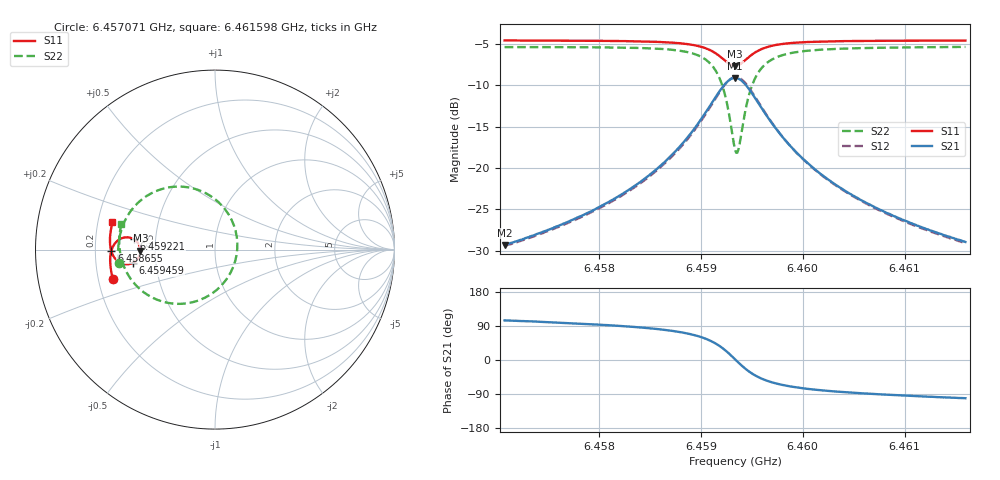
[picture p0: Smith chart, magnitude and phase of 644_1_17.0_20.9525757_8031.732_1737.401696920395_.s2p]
#  HZ  S  RI  R  50.00
! Rohde & Schwarz Vector Network Analyzer
! Rohde-Schwarz,ZNB20-2Port,1311601062101988,3.16
! Created: UTC 3/20/2024, 11:20:57 PM
! freq[Hz]  re:S11  im:S11  re:S21  im:S21  re:S12  im:S12  re:S22  im:S22
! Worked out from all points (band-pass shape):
!   401 points, 6.457071 GHz to 6.461598 GHz, reference 50 ohm
!   highest |S21| = -9.08 dB at 6.459335 GHz (marker M1); lowest = -29.3 dB at 6.457071 GHz (marker M2)
!   |S21| within 3 dB of the highest: 6.459109 GHz to 6.459562 GHz (453.3 kHz wide, 0.00702 % of centre)
!   lowest |S11| = -7.6 dB at 6.459335 GHz (marker M3), VSWR 2.42, Z = 20.7 - j0.333 ohm
!   |S11| at or under -10 dB: nowhere
!   |S22| runs from -18.1 to -5.3 dB; largest |S21 - S12| = 0.014
!   S11 on the Smith chart (normalised r, x): 6.457071 GHz: 0.26, -0.13; 6.458655 GHz: 0.27, -0.00; 6.459221 GHz: 0.38, +0.05; 6.459459 GHz: 0.37, -0.07; 6.461598 GHz: 0.26, +0.12
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6.457071e9  -0.5688 -0.165  -0.00858 0.0332  -0.00685 0.033  -0.5345 -0.0762
6.4578293e9  -0.5817 -0.0983  -0.00527 0.0512  -0.0026 0.0507  -0.5386 0.0139
6.4582254e9  -0.5841 -0.0583  0.00052 0.0696  0.00391 0.0683  -0.5302 0.0772
6.4585876e9  -0.5798 -0.0149  0.0155 0.1002  0.0194 0.0975  -0.5026 0.1593
6.4586555e9  -0.5775 -0.00539  0.0211 0.1088  0.025 0.1054  -0.4923 0.1793
6.4588479e9  -0.5644 0.025  0.0482 0.1399  0.0522 0.1349  -0.441 0.2488
6.458995e9  -0.5412 0.0511  0.0943 0.1705  0.0974 0.1635  -0.3556 0.3132
6.4591308e9  -0.4967 0.0684  0.1829 0.1865  0.1838 0.1792  -0.1934 0.3511
6.4592214e9  -0.4516 0.0575  0.274 0.1543  0.2741 0.1485  -0.0246 0.2986
6.4592893e9  -0.4222 0.0248  0.3351 0.0811  0.3373 0.0759  0.0922 0.1663
6.4593345e9  -0.4153 -0.00666  0.3512 0.0119  0.3552 0.00518  0.1245 0.0367
6.4593685e9  -0.4193 -0.0308  0.3452 -0.0412  0.3493 -0.0504  0.1123 -0.0647
6.4594138e9  -0.4353 -0.0574  0.3158 -0.1021  0.3182 -0.1143  0.0527 -0.18
6.459459e9  -0.4578 -0.074  0.2729 -0.1436  0.2721 -0.1574  -0.0347 -0.2561
6.4595496e9  -0.5018 -0.081  0.1862 -0.1748  0.18 -0.1868  -0.2075 -0.3023
6.4596175e9  -0.5266 -0.0736  0.137 -0.1726  0.1288 -0.1818  -0.3026 -0.2863
6.4596967e9  -0.5462 -0.0603  0.0968 -0.1602  0.088 -0.1666  -0.3783 -0.2505
6.4598551e9  -0.5681 -0.0324  0.0513 -0.1314  0.0435 -0.1342  -0.4596 -0.1768
6.4600928e9  -0.5808 0.00315  0.022 -0.0991  0.016 -0.0997  -0.5078 -0.0927
6.4604324e9  -0.5853 0.0439  0.006 -0.0717  0.0018 -0.0712  -0.5291 -0.0127
6.4608511e9  -0.5833 0.0864  -0.0017 -0.0529  -0.00464 -0.0519  -0.5331 0.0559
6.4615981e9  -0.5712 0.1527  -0.00674 -0.0351  -0.00846 -0.0342  -0.5215 0.1454
